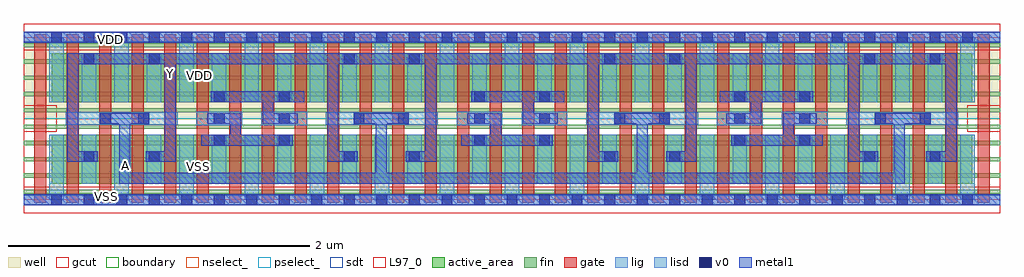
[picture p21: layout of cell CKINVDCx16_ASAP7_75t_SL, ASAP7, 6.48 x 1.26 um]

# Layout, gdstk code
import gdstk
lib = gdstk.Library(unit=1e-6, precision=2.5e-10)
def R(c, l, rs):  # rectangles x0, y0, x1, y1
    for r in rs: c.add(gdstk.rectangle(r[:2], r[2:], *l))
def A(c, l, x, y, w, h, nx, ny, dx, dy):  # array of equal rectangles
    R(c, l, [(x+i*dx, y+j*dy, x+i*dx+w, y+j*dy+h) for i in range(nx) for j in range(ny)])
def P(c, l, *ps):  # polygons
    for p in ps: c.add(gdstk.Polygon(p, *l))
well = (1, 0)
fin = (2, 0)
gate = (7, 0)
gcut = (10, 0)
active_area = (11, 0)
nselect_ = (12, 0)
pselect_ = (13, 0)
lig = (16, 0)
lisd = (17, 0)
v0 = (18, 0)
metal1 = (19, 0)
sdt = (88, 0)
L97_0 = (97, 0)
boundary = (100, 0)

ckinvdcx16_asap7_75t_sl = lib.new_cell('CKINVDCx16_ASAP7_75t_SL')
R(ckinvdcx16_asap7_75t_sl, well, [(0,0.54,6.48,1.08)])
A(ckinvdcx16_asap7_75t_sl, fin, 0, 0.04, 6.48, 0.028, 1, 10, 0, 0.108)
A(ckinvdcx16_asap7_75t_sl, gate, 0.068, -0.02, 0.08, 1.12, 30, 1, 0.216, 0)
R(ckinvdcx16_asap7_75t_sl, gcut, [(0,-0.088,6.48,0.088), (0,0.452,0.216,0.628), (6.264,0.452,6.48,0.628), (0,0.992,6.48,1.168)])
R(ckinvdcx16_asap7_75t_sl, active_area, [(0.184,0.108,6.296,0.432), (0.184,0.648,6.296,0.972)])
R(ckinvdcx16_asap7_75t_sl, nselect_, [(0,0,6.48,0.54)])
R(ckinvdcx16_asap7_75t_sl, pselect_, [(0,0.54,6.48,1.08)])
A(ckinvdcx16_asap7_75t_sl, lig, 0.276, 0.5, 0.744, 0.08, 4, 1, 1.728, 0)
R(ckinvdcx16_asap7_75t_sl, lig, [(0,-0.032,6.48,0.032), (1.144,0.496,1.448,0.584), (1.576,0.496,1.88,0.584), (2.872,0.496,3.176,0.584), (3.304,0.496,3.608,0.584), (4.6,0.496,4.904,0.584), (5.032,0.496,5.336,0.584), (0,1.048,6.48,1.112)])
A(ckinvdcx16_asap7_75t_sl, lisd, 0.168, 0, 0.096, 0.432, 15, 2, 0.432, 0.648)
A(ckinvdcx16_asap7_75t_sl, lisd, 0.384, 0.108, 0.096, 0.324, 14, 2, 0.432, 0.54)
A(ckinvdcx16_asap7_75t_sl, v0, 0.18, -0.036, 0.072, 0.072, 29, 2, 0.216, 1.08)
A(ckinvdcx16_asap7_75t_sl, v0, 1.26, 0.36, 0.072, 0.072, 1, 3, 0, 0.144)
A(ckinvdcx16_asap7_75t_sl, v0, 1.692, 0.36, 0.072, 0.072, 1, 3, 0, 0.144)
A(ckinvdcx16_asap7_75t_sl, v0, 2.988, 0.36, 0.072, 0.072, 1, 3, 0, 0.144)
A(ckinvdcx16_asap7_75t_sl, v0, 3.42, 0.36, 0.072, 0.072, 1, 3, 0, 0.144)
A(ckinvdcx16_asap7_75t_sl, v0, 4.716, 0.36, 0.072, 0.072, 1, 3, 0, 0.144)
A(ckinvdcx16_asap7_75t_sl, v0, 5.148, 0.36, 0.072, 0.072, 1, 3, 0, 0.144)
R(ckinvdcx16_asap7_75t_sl, v0, [(0.396,0.252,0.468,0.324), (0.828,0.252,0.9,0.324), (2.124,0.252,2.196,0.324), (2.556,0.252,2.628,0.324), (3.852,0.252,3.924,0.324), (4.284,0.252,4.356,0.324), (5.58,0.252,5.652,0.324), (6.012,0.252,6.084,0.324), (0.504,0.504,0.576,0.576), (0.76,0.504,0.832,0.576), (2.188,0.504,2.26,0.576), (2.484,0.504,2.556,0.576), (3.92,0.504,3.992,0.576), (4.216,0.504,4.288,0.576), (5.648,0.504,5.72,0.576), (5.948,0.504,6.02,0.576), (0.396,0.9,0.468,0.972), (0.828,0.9,0.9,0.972), (2.124,0.9,2.196,0.972), (2.556,0.9,2.628,0.972), (3.852,0.9,3.924,0.972), (4.284,0.9,4.356,0.972), (5.58,0.9,5.652,0.972), (6.012,0.9,6.084,0.972)])
R(ckinvdcx16_asap7_75t_sl, metal1, [(0,-0.036,6.48,0.036), (0,1.044,6.48,1.116)])
P(ckinvdcx16_asap7_75t_sl, metal1, [(6.192,0.972),(0.288,0.972),(0.288,0.252),(0.488,0.252),(0.488,0.324),(0.36,0.324),(0.36,0.9),(0.936,0.9),(0.936,0.324),(0.808,0.324),(0.808,0.252),(1.008,0.252),(1.008,0.9),(2.016,0.9),(2.016,0.252),(2.216,0.252),(2.216,0.324),(2.088,0.324),(2.088,0.9),(2.664,0.9),(2.664,0.324),(2.536,0.324),(2.536,0.252),(2.736,0.252),(2.736,0.9),(3.744,0.9),(3.744,0.252),(3.944,0.252),(3.944,0.324),(3.816,0.324),(3.816,0.9),(4.392,0.9),(4.392,0.324),(4.264,0.324),(4.264,0.252),(4.464,0.252),(4.464,0.9),(5.472,0.9),(5.472,0.252),(5.672,0.252),(5.672,0.324),(5.544,0.324),(5.544,0.9),(6.12,0.9),(6.12,0.324),(5.992,0.324),(5.992,0.252),(6.192,0.252)],
  [(1.784,0.432),(1.44,0.432),(1.44,0.576),(1.216,0.576),(1.216,0.504),(1.368,0.504),(1.368,0.432),(1.176,0.432),(1.176,0.36),(1.784,0.36)],
  [(1.86,0.72),(1.24,0.72),(1.24,0.648),(1.584,0.648),(1.584,0.504),(1.816,0.504),(1.816,0.576),(1.656,0.576),(1.656,0.648),(1.86,0.648)],
  [(3.512,0.432),(3.168,0.432),(3.168,0.576),(2.944,0.576),(2.944,0.504),(3.096,0.504),(3.096,0.432),(2.904,0.432),(2.904,0.36),(3.512,0.36)],
  [(6.02,0.576),(5.648,0.576),(5.648,0.504),(5.776,0.504),(5.776,0.18),(4.14,0.18),(4.14,0.504),(4.288,0.504),(4.288,0.576),(3.92,0.576),(3.92,0.504),(4.068,0.504),(4.068,0.18),(2.408,0.18),(2.408,0.504),(2.556,0.504),(2.556,0.576),(2.188,0.576),(2.188,0.504),(2.336,0.504),(2.336,0.18),(0.704,0.18),(0.704,0.504),(0.832,0.504),(0.832,0.576),(0.504,0.576),(0.504,0.504),(0.632,0.504),(0.632,0.108),(5.848,0.108),(5.848,0.504),(6.02,0.504)],
  [(3.588,0.72),(2.968,0.72),(2.968,0.648),(3.312,0.648),(3.312,0.504),(3.544,0.504),(3.544,0.576),(3.384,0.576),(3.384,0.648),(3.588,0.648)],
  [(5.24,0.72),(4.62,0.72),(4.62,0.648),(4.824,0.648),(4.824,0.576),(4.664,0.576),(4.664,0.504),(4.896,0.504),(4.896,0.648),(5.24,0.648)],
  [(5.304,0.432),(5.112,0.432),(5.112,0.504),(5.264,0.504),(5.264,0.576),(5.04,0.576),(5.04,0.432),(4.696,0.432),(4.696,0.36),(5.304,0.36)])
A(ckinvdcx16_asap7_75t_sl, sdt, 0.168, 0.108, 0.096, 0.324, 29, 2, 0.216, 0.54)
R(ckinvdcx16_asap7_75t_sl, L97_0, [(0,0,6.48,1.08)])
R(ckinvdcx16_asap7_75t_sl, boundary, [(0,0,6.48,1.08)])
ckinvdcx16_asap7_75t_sl.add(gdstk.Label('VSS', (0.548,0.024), layer=19, texttype=251))
ckinvdcx16_asap7_75t_sl.add(gdstk.Label('VDD', (0.576,1.066), layer=19, texttype=251))
ckinvdcx16_asap7_75t_sl.add(gdstk.Label('Y', (0.972,0.84), layer=19, texttype=251))
ckinvdcx16_asap7_75t_sl.add(gdstk.Label('A', (0.672,0.228), layer=19, texttype=251))
ckinvdcx16_asap7_75t_sl.add(gdstk.Label('VDD', (1.168,0.828), layer=1, texttype=251))
ckinvdcx16_asap7_75t_sl.add(gdstk.Label('VSS', (1.156,0.22), layer=3, texttype=251))

lib.write_gds('CKINVDCx16_ASAP7_75t_SL.gds')
